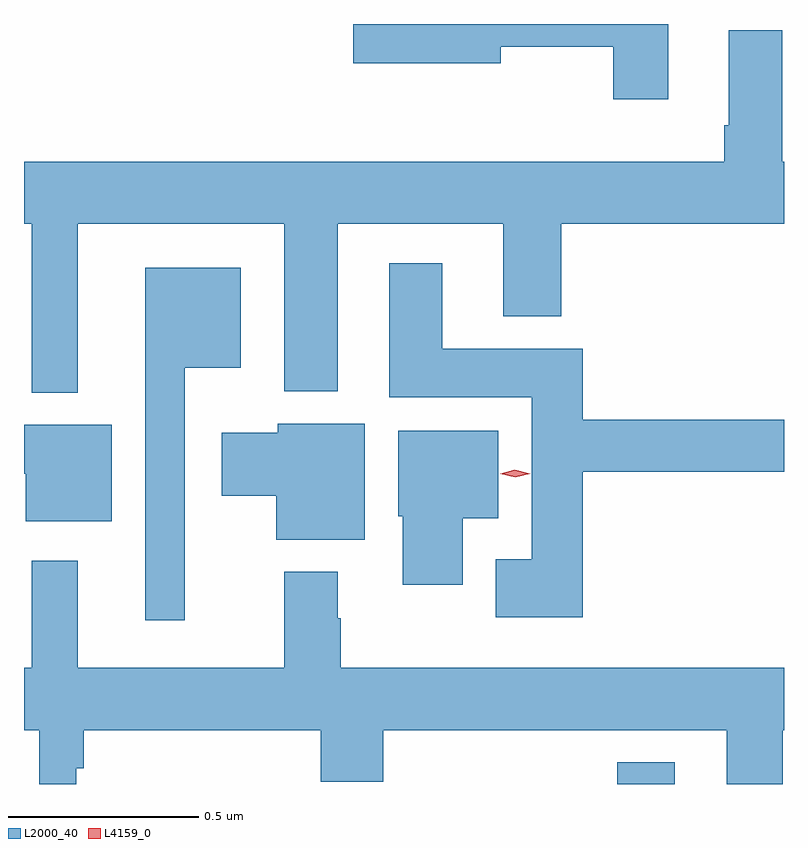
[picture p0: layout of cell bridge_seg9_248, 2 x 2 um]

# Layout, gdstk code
import gdstk
lib = gdstk.Library(unit=1e-6, precision=1e-09)
def R(c, l, rs):  # rectangles x0, y0, x1, y1
    for r in rs: c.add(gdstk.rectangle(r[:2], r[2:], *l))
def P(c, l, *ps):  # polygons
    for p in ps: c.add(gdstk.Polygon(p, *l))
L2000_40 = (2000, 40)
L4159_0 = (4159, 0)

bridge_seg9_248 = lib.new_cell('bridge_seg9_248')
R(bridge_seg9_248, L2000_40, [(247.505,1186.954,247.657,1187.011)])
P(bridge_seg9_248, L2000_40, [(247.639,1188.954),(246.81,1188.954),(246.81,1188.851),(247.198,1188.851),(247.198,1188.894),(247.495,1188.894),(247.495,1188.756),(247.639,1188.756)],
  [(245.944,1188.428),(245.964,1188.428),(245.964,1187.984),(246.085,1187.984),(246.085,1188.428),(246.629,1188.428),(246.629,1187.987),(246.769,1187.987),(246.769,1188.428),(247.205,1188.428),(247.205,1188.185),(247.358,1188.185),(247.358,1188.428),(247.944,1188.428),(247.944,1188.592),(247.939,1188.592),(247.939,1188.937),(247.799,1188.937),(247.799,1188.688),(247.787,1188.688),(247.787,1188.592),(245.944,1188.592)],
  [(247.415,1187.776),(247.944,1187.776),(247.944,1187.912),(247.415,1187.912),(247.415,1188.1),(247.045,1188.1),(247.045,1188.325),(246.905,1188.325),(246.905,1187.972),(247.28,1187.972),(247.28,1187.545),(247.185,1187.545),(247.185,1187.393),(247.415,1187.393)],
  [(246.367,1188.05),(246.514,1188.05),(246.514,1188.313),(246.263,1188.313),(246.263,1187.385),(246.367,1187.385)],
  [(246.841,1187.902),(246.612,1187.902),(246.612,1187.878),(246.465,1187.878),(246.465,1187.713),(246.608,1187.713),(246.608,1187.597),(246.841,1187.597)],
  [(246.175,1187.899),(245.944,1187.899),(245.944,1187.771),(245.948,1187.771),(245.948,1187.645),(246.175,1187.645)],
  [(247.099,1187.654),(247.192,1187.654),(247.192,1187.884),(246.929,1187.884),(246.929,1187.658),(246.941,1187.658),(246.941,1187.478),(247.099,1187.478)],
  [(246.081,1186.995),(246.101,1186.995),(246.101,1187.096),(246.725,1187.096),(246.725,1186.96),(246.89,1186.96),(246.89,1187.096),(247.793,1187.096),(247.793,1186.954),(247.941,1186.954),(247.941,1187.096),(247.944,1187.096),(247.944,1187.26),(246.777,1187.26),(246.777,1187.39),(246.769,1187.39),(246.769,1187.512),(246.629,1187.512),(246.629,1187.26),(246.085,1187.26),(246.085,1187.542),(245.964,1187.542),(245.964,1187.26),(245.944,1187.26),(245.944,1187.096),(245.984,1187.096),(245.984,1186.954),(246.081,1186.954)])
P(bridge_seg9_248, L4159_0, [(247.237,1187.761),(247.197,1187.77),(247.197,1187.77),(247.197,1187.771),(247.236,1187.781),(247.276,1187.771),(247.276,1187.771),(247.276,1187.771)])

lib.write_gds('bridge_seg9_248.gds')
